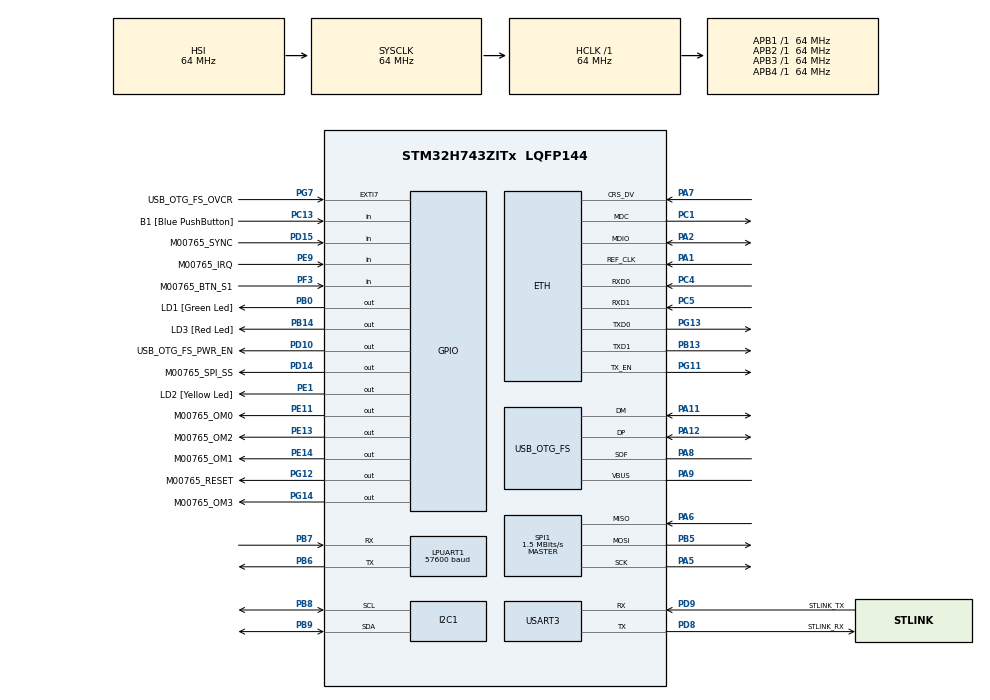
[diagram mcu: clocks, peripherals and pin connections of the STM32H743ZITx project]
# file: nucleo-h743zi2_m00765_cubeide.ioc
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Bdma.LPUART1_RX.0.Direction=DMA_PERIPH_TO_MEMORY
Bdma.LPUART1_RX.0.EventEnable=DISABLE
Bdma.LPUART1_RX.0.Instance=BDMA_Channel0
Bdma.LPUART1_RX.0.MemDataAlignment=DMA_MDATAALIGN_BYTE
Bdma.LPUART1_RX.0.MemInc=DMA_MINC_ENABLE
Bdma.LPUART1_RX.0.Mode=DMA_NORMAL
Bdma.LPUART1_RX.0.PeriphDataAlignment=DMA_PDATAALIGN_BYTE
Bdma.LPUART1_RX.0.PeriphInc=DMA_PINC_DISABLE
Bdma.LPUART1_RX.0.Polarity=HAL_DMAMUX_REQ_GEN_RISING
Bdma.LPUART1_RX.0.Priority=DMA_PRIORITY_LOW
Bdma.LPUART1_RX.0.RequestNumber=1
Bdma.LPUART1_RX.0.SignalID=NONE
Bdma.LPUART1_RX.0.SyncEnable=DISABLE
Bdma.LPUART1_RX.0.SyncPolarity=HAL_DMAMUX_SYNC_NO_EVENT
Bdma.LPUART1_RX.0.SyncRequestNumber=1
Bdma.LPUART1_RX.0.SyncSignalID=NONE
Bdma.LPUART1_TX.1.Direction=DMA_MEMORY_TO_PERIPH
Bdma.LPUART1_TX.1.EventEnable=DISABLE
Bdma.LPUART1_TX.1.Instance=BDMA_Channel1
Bdma.LPUART1_TX.1.MemDataAlignment=DMA_MDATAALIGN_BYTE
Bdma.LPUART1_TX.1.MemInc=DMA_MINC_ENABLE
Bdma.LPUART1_TX.1.Mode=DMA_NORMAL
Bdma.LPUART1_TX.1.PeriphDataAlignment=DMA_PDATAALIGN_BYTE
Bdma.LPUART1_TX.1.PeriphInc=DMA_PINC_DISABLE
Bdma.LPUART1_TX.1.Polarity=HAL_DMAMUX_REQ_GEN_RISING
Bdma.LPUART1_TX.1.Priority=DMA_PRIORITY_LOW
Bdma.LPUART1_TX.1.RequestNumber=1
Bdma.LPUART1_TX.1.SignalID=NONE
Bdma.LPUART1_TX.1.SyncEnable=DISABLE
Bdma.LPUART1_TX.1.SyncPolarity=HAL_DMAMUX_SYNC_NO_EVENT
Bdma.LPUART1_TX.1.SyncRequestNumber=1
Bdma.LPUART1_TX.1.SyncSignalID=NONE
Bdma.Request0=LPUART1_RX
Bdma.Request1=LPUART1_TX
Bdma.RequestsNb=2
Dma.Request0=SPI1_RX
Dma.Request1=SPI1_TX
Dma.SPI1_RX.0.Direction=DMA_PERIPH_TO_MEMORY
Dma.SPI1_RX.0.EventEnable=DISABLE
Dma.SPI1_RX.0.FIFOMode=DMA_FIFOMODE_DISABLE
Dma.SPI1_RX.0.Instance=DMA1_Stream0
Dma.SPI1_RX.0.MemDataAlignment=DMA_MDATAALIGN_BYTE
Dma.SPI1_RX.0.MemInc=DMA_MINC_ENABLE
Dma.SPI1_RX.0.Mode=DMA_NORMAL
Dma.SPI1_RX.0.PeriphDataAlignment=DMA_PDATAALIGN_BYTE
Dma.SPI1_RX.0.PeriphInc=DMA_PINC_DISABLE
Dma.SPI1_RX.0.Polarity=HAL_DMAMUX_REQ_GEN_RISING
Dma.SPI1_RX.0.Priority=DMA_PRIORITY_LOW
Dma.SPI1_RX.0.RequestNumber=1
Dma.SPI1_RX.0.SignalID=NONE
Dma.SPI1_RX.0.SyncEnable=DISABLE
Dma.SPI1_RX.0.SyncPolarity=HAL_DMAMUX_SYNC_NO_EVENT
Dma.SPI1_RX.0.SyncRequestNumber=1
Dma.SPI1_RX.0.SyncSignalID=NONE
Dma.SPI1_TX.1.Direction=DMA_MEMORY_TO_PERIPH
Dma.SPI1_TX.1.EventEnable=DISABLE
Dma.SPI1_TX.1.FIFOMode=DMA_FIFOMODE_DISABLE
Dma.SPI1_TX.1.Instance=DMA1_Stream1
Dma.SPI1_TX.1.MemDataAlignment=DMA_MDATAALIGN_BYTE
Dma.SPI1_TX.1.MemInc=DMA_MINC_ENABLE
Dma.SPI1_TX.1.Mode=DMA_NORMAL
Dma.SPI1_TX.1.PeriphDataAlignment=DMA_PDATAALIGN_BYTE
Dma.SPI1_TX.1.PeriphInc=DMA_PINC_DISABLE
Dma.SPI1_TX.1.Polarity=HAL_DMAMUX_REQ_GEN_RISING
Dma.SPI1_TX.1.Priority=DMA_PRIORITY_LOW
Dma.SPI1_TX.1.RequestNumber=1
Dma.SPI1_TX.1.SignalID=NONE
Dma.SPI1_TX.1.SyncEnable=DISABLE
Dma.SPI1_TX.1.SyncPolarity=HAL_DMAMUX_SYNC_NO_EVENT
Dma.SPI1_TX.1.SyncRequestNumber=1
Dma.SPI1_TX.1.SyncSignalID=NONE
ETH.MediaInterface=HAL_ETH_RMII_MODE
LPUART1.BaudRate=57600
Mcu.Family=STM32H7
Mcu.Name=STM32H743ZITx
Mcu.Package=LQFP144
NVIC.BDMA_Channel0_IRQn=true\:0\:0\:false\:false\:true\:false\:true
NVIC.BDMA_Channel1_IRQn=true\:0\:0\:false\:false\:true\:false\:true
NVIC.DMA1_Stream0_IRQn=true\:0\:0\:false\:false\:true\:false\:true
NVIC.DMA1_Stream1_IRQn=true\:0\:0\:false\:false\:true\:false\:true
NVIC.PriorityGroup=NVIC_PRIORITYGROUP_4
NVIC.SPI1_IRQn=true\:0\:0\:false\:false\:true\:true\:true
PA1.Mode=RMII
PA1.Signal=ETH_REF_CLK
PA11.Mode=Device_Only
PA11.Signal=USB_OTG_FS_DM
PA12.Mode=Device_Only
PA12.Signal=USB_OTG_FS_DP
PA2.Mode=RMII
PA2.Signal=ETH_MDIO
PA5.GPIO_PuPd=GPIO_PULLDOWN
PA5.Mode=Full_Duplex_Master
PA5.Signal=SPI1_SCK
PA6.GPIO_PuPd=GPIO_PULLDOWN
PA6.Mode=Full_Duplex_Master
PA6.Signal=SPI1_MISO
PA7.Mode=RMII
PA7.Signal=ETH_CRS_DV
PA8.Mode=Activate_SOF_FS
PA8.Signal=USB_OTG_FS_SOF
PA9.Mode=Activate_VBUS
PA9.Signal=USB_OTG_FS_VBUS
PB0.GPIO_Label=LD1 [Green Led]
PB0.Signal=GPIO_Output
PB13.Mode=RMII
PB13.Signal=ETH_TXD1
PB14.GPIO_Label=LD3 [Red Led]
PB14.Signal=GPIO_Output
PB5.GPIO_PuPd=GPIO_PULLDOWN
PB5.Mode=Full_Duplex_Master
PB5.Signal=SPI1_MOSI
PB6.Mode=Asynchronous
PB6.Signal=LPUART1_TX
PB7.GPIO_PuPd=GPIO_PULLUP
PB7.Mode=Asynchronous
PB7.Signal=LPUART1_RX
PB8.GPIO_Pu=GPIO_PULLUP
PB8.Mode=I2C
PB8.Signal=I2C1_SCL
PB9.GPIO_Pu=GPIO_PULLUP
PB9.Mode=I2C
PB9.Signal=I2C1_SDA
PC1.Mode=RMII
PC1.Signal=ETH_MDC
PC13.GPIO_Label=B1 [Blue PushButton]
PC13.Signal=GPIO_Input
PC14-OSC32_IN\ (OSC32_IN).Mode=LSE-External-Oscillator
PC14-OSC32_IN\ (OSC32_IN).Signal=RCC_OSC32_IN
PC15-OSC32_OUT\ (OSC32_OUT).Mode=LSE-External-Oscillator
PC15-OSC32_OUT\ (OSC32_OUT).Signal=RCC_OSC32_OUT
PC4.Mode=RMII
PC4.Signal=ETH_RXD0
PC5.Mode=RMII
PC5.Signal=ETH_RXD1
PD10.GPIO_Label=USB_OTG_FS_PWR_EN
PD10.Signal=GPIO_Output
PD14.GPIO_Label=M00765_SPI_SS
PD14.GPIO_PuPd=GPIO_PULLUP
PD14.PinState=GPIO_PIN_SET
PD14.Signal=GPIO_Output
PD15.GPIO_Label=M00765_SYNC
PD15.GPIO_PuPd=GPIO_PULLDOWN
PD15.Signal=GPIO_Input
PD8.GPIO_Label=STLINK_RX
PD8.Mode=Asynchronous
PD8.Signal=USART3_TX
PD9.GPIO_Label=STLINK_TX
PD9.Mode=Asynchronous
PD9.Signal=USART3_RX
PE1.GPIO_Label=LD2 [Yellow Led]
PE1.Signal=GPIO_Output
PE11.GPIO_Label=M00765_OM0
PE11.GPIO_PuPd=GPIO_NOPULL
PE11.Signal=GPIO_Output
PE13.GPIO_Label=M00765_OM2
PE13.GPIO_PuPd=GPIO_NOPULL
PE13.Signal=GPIO_Output
PE14.GPIO_Label=M00765_OM1
PE14.GPIO_PuPd=GPIO_NOPULL
PE14.Signal=GPIO_Output
PE9.GPIO_Label=M00765_IRQ
PE9.GPIO_PuPd=GPIO_PULLUP
PE9.Signal=GPIO_Input
PF3.GPIO_Label=M00765_BTN_S1
PF3.GPIO_PuPd=GPIO_PULLUP
PF3.Signal=GPIO_Input
PG11.Mode=RMII
PG11.Signal=ETH_TX_EN
PG12.GPIO_Label=M00765_RESET
PG12.GPIO_PuPd=GPIO_NOPULL
PG12.Signal=GPIO_Output
PG13.Mode=RMII
PG13.Signal=ETH_TXD0
PG14.GPIO_Label=M00765_OM3
PG14.GPIO_ModeDefaultOutputPP=GPIO_MODE_OUTPUT_OD
PG14.GPIO_PuPd=GPIO_PULLUP
PG14.Signal=GPIO_Output
PG7.GPIO_Label=USB_OTG_FS_OVCR
PG7.Signal=GPXTI7
PH0-OSC_IN\ (PH0).Mode=HSE-External-Clock-Source
PH0-OSC_IN\ (PH0).Signal=RCC_OSC_IN
PH1-OSC_OUT\ (PH1).Signal=RCC_OSC_OUT
ProjectManager.HeapSize=0x200
ProjectManager.StackSize=0x400
ProjectManager.TargetToolchain=STM32CubeIDE
RCC.ADCFreq_Value=16125000
RCC.APB1Freq_Value=64000000
RCC.APB2Freq_Value=64000000
RCC.APB3Freq_Value=64000000
RCC.APB4Freq_Value=64000000
RCC.CortexFreq_Value=64000000
RCC.DIVM1=1
RCC.DIVN1=24
RCC.DIVQ1=4
RCC.HCLKFreq_Value=64000000
RCC.HSE_VALUE=8000000
RCC.PLLFRACN=0
RCC.PWR_Regulator_Voltage_Scale=PWR_REGULATOR_VOLTAGE_SCALE2
RCC.SYSCLKFreq_VALUE=64000000
RCC.USBFreq_Value=48000000
SPI1.BaudRatePrescaler=SPI_BAUDRATEPRESCALER_32
SPI1.CalculateBaudRate=1.5 MBits/s
SPI1.DataSize=SPI_DATASIZE_8BIT
SPI1.Direction=SPI_DIRECTION_2LINES
SPI1.Mode=SPI_MODE_MASTER
SPI1.NSSPMode=SPI_NSS_PULSE_DISABLE
SPI1.VirtualType=VM_MASTER
USART3.VirtualMode-Asynchronous=VM_ASYNC
USB_OTG_FS.VirtualMode=Device_Only
board=NUCLEO-H743ZI2

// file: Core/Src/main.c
/*******************************************************************************
********************************************************************************
**                                                                            **
** ABCC Starter Kit version 3.08.01 (2021-12-15)                              **
**                                                                            **
** Delivered with:                                                            **
**    ABP            7.79.01 (2021-11-10)                                     **
**    ABCC Driver    5.08.01 (2021-12-09)                                     **
**                                                                            */
/* USER CODE BEGIN Header */
/**
  ******************************************************************************
  * @file           : main.c
  * @brief          : Main program body
  ******************************************************************************
  * @attention
  *
  * <h2><center>&copy; Copyright (c) 2021 STMicroelectronics.
  * All rights reserved.</center></h2>
  *
  * This software component is licensed by ST under BSD 3-Clause license,
  * the "License"; You may not use this file except in compliance with the
  * License. You may obtain a copy of the License at:
  *                        opensource.org/licenses/BSD-3-Clause
  *
  ******************************************************************************
  */
/* USER CODE END Header */
#include "main.h"
#include "bdma.h"
#include "dma.h"
#include "eth.h"
#include "i2c.h"
#include "usart.h"
#include "spi.h"
#include "usb_otg.h"
#include "gpio.h"

/* USER CODE BEGIN Includes */

#include <stdio.h>
#include <stdint.h>
#include <stdbool.h>
#include <inttypes.h>

#include "abcc.h"
#include "abcc_sys_adapt_aux.h"
#include "abcc_versions.h"
#include "appl_abcc_handler.h"

/* USER CODE END Includes */

void SystemClock_Config(void);

int main(void)
{
  /* USER CODE BEGIN 1 */

   /*-------------------------------------------------------------------------
   **
   ** Port of the ABCC example code for the Nucleo-H743ZI2 board and the
   ** M00765 ABCC adapter board.
   **
   ** All HW/interface reservations and initializations has been made via the
   ** 'CubeMX' project, this includes the define:s for the I/O pins and the
   ** initial settings for the I2C, SPI, and UART communication interfaces.
   ** All additions or changes made in the CubeMX-generated files should be
   ** inside the "USER X BEGIN/END" markers so updates to that project file
   ** should be possible to apply without interfering with the ABCC-related
   ** parts.
   **
   ** The __io_putchar() and __io_getchar functions has been added to usart.c
   ** to allow for console I/O, but is not complete. FIFO/interrupt support
   ** remains to do.
   **
   ** Basic operation with SPI or UART shall work. Both implementations runs
   ** with polling operation. Interrupt-driven operation for SPI, and porting
   ** of the critical section macros, remains "to do", as does SYNC support.
   **
   **-------------------------------------------------------------------------
   */

   UINT8    bConsoleInput;

   /*
   ** Timekeeping variables for the ABCC driver. The ABCC_RunTimerSystem()
   ** requires a reasonably accurate reference, in this implementation the
   ** 1ms HAL_GetTick() is used as a time base.
   */
   UINT32   lTickThen;
   UINT32   lTickNow;
   UINT32   lTickDiff;

   /*
   ** The RESTART button on the M00765 PCB should be flank sensitive so we
   ** need variables to keep track of its state.
   */
   BOOL  fAbccRestartButtonThen;
   BOOL  fAbccRestartButtonNow;

   APPL_AbccHandlerStatusType	eAbccHandlerStatus = APPL_MODULE_NO_ERROR;

  /* USER CODE END 1 */

  /* MCU Configuration--------------------------------------------------------*/

  /* Reset of all peripherals, Initializes the Flash interface and the Systick. */
  HAL_Init();

  /* Configure the system clock */
  SystemClock_Config();

  /* Initialize all configured peripherals */
  MX_GPIO_Init();
  MX_DMA_Init();
  MX_ETH_Init();
  MX_SPI1_Init();
  MX_USART3_UART_Init();
  MX_BDMA_Init();
  MX_LPUART1_UART_Init();
  MX_USB_OTG_FS_PCD_Init();
  MX_I2C1_Init();
  /* USER CODE BEGIN 2 */

   printf( "%c", 12 ); /* 12 = 'form feed' */
   printf( "HMS Industrial Networks\n" );
   printf( "Embedded ABCC Demo\n" );
   printf( "NUCLEO-H743ZI2 with M00765 option card\n" );
   printf( ABCC_STARTER_KIT_VER_STRING );
   printf( "\n\n" );

   /*
   ** Inform the adaptation functions in "abcc_sys_adapt.c" which I2C, SPI and
   ** UART interfaces to use for the M00765 PCB and the ABCC. It is assumed
   ** that those interfaces already has been claimed/reserved via the CubeMX
   ** configuration tool, and that its code generator has defined the
   ** corresponding structures here in the "main.c" so that the only
   ** remaining task is to pass on pointers to those existing structures.
   */
   if( !ABCC_SYS_Set_I2C_Handle( &hi2c1 ) )
   {
      Error_Handler();
   }
   if( !ABCC_SYS_Set_SPI_Handle( &hspi1 ) )
   {
      Error_Handler();
   }
   if( !ABCC_SYS_Set_UART_Handle( &hlpuart1 ) )
   {
      Error_Handler();
   }

   if( ABCC_HwInit() != ABCC_EC_NO_ERROR )
   {
      Error_Handler();
   }

   lTickThen = HAL_GetTick();
   fAbccRestartButtonThen = ABCC_SYS_GetRestartButton();

  /* USER CODE END 2 */

  /* Infinite loop */
  while (1)
  {

    /* USER CODE BEGIN 3 */

      /*
      ** Handle console input.
      */
      if( HAL_UART_Receive( &huart3, &bConsoleInput, 1, 0 ) == HAL_OK )
      {
      /* TODO - Restart the ABCC when someone presses 'R' ? */
      /* TODO - Dump some statistics data ? */
      }

      /*
      ** Run the ABCC driver and handle any state-dependent actions.
      */
      eAbccHandlerStatus = APPL_HandleAbcc();
      switch( eAbccHandlerStatus )
      {
      case APPL_MODULE_NO_ERROR:
         break;

      case APPL_MODULE_RESET:
         APPL_RestartAbcc();
         break;

      case APPL_MODULE_NOT_DETECTED:
         break;

      case APPL_MODULE_NOT_SUPPORTED:
         break;

      case APPL_MODULE_NOT_ANSWERING:
         break;

      case APPL_MODULE_SHUTDOWN:
         break;

      case APPL_MODULE_UNEXPECTED_ERROR:
         break;

      default:
         break;
      }

      /*
      ** Poll the system timer and inform ABCC_RunTimerSystem() about how much
      ** time that has elapsed.
      */
      lTickNow = HAL_GetTick();
      if( lTickNow != lTickThen )
      {
         lTickDiff = lTickNow - lTickThen;
         lTickThen = lTickNow;

         /*
         ** Make sure that *all* elapsed time is accounted for...
         */
         while( lTickDiff > 0 )
         {
            if( lTickDiff > ABP_SINT16_MAX )
            {
               ABCC_RunTimerSystem( ABP_SINT16_MAX );
               lTickDiff -= ABP_SINT16_MAX;
            }
            else
            {
               ABCC_RunTimerSystem( (INT16)lTickDiff );
               lTickDiff = 0;
            }
         }
      }

      /*
      ** Restart the ABCC when the S1/RESTART is pushed down. Debouncing is not
      ** needed since the button is wired via a voltage WD chip (U4).
      */
      fAbccRestartButtonNow = ABCC_SYS_GetRestartButton();
      if( fAbccRestartButtonNow != fAbccRestartButtonThen )
      {
         fAbccRestartButtonThen = fAbccRestartButtonNow;
         if( fAbccRestartButtonNow )
         {
            APPL_Reset();
         }
         else
         {
            APPL_RestartAbcc();
         }
      }

  }
  /* USER CODE END 3 */
}

void SystemClock_Config(void)
{
  RCC_OscInitTypeDef RCC_OscInitStruct = {0};
  RCC_ClkInitTypeDef RCC_ClkInitStruct = {0};

  /** Supply configuration update enable
  */
  HAL_PWREx_ConfigSupply(PWR_LDO_SUPPLY);
  /** Configure the main internal regulator output voltage
  */
  __HAL_PWR_VOLTAGESCALING_CONFIG(PWR_REGULATOR_VOLTAGE_SCALE2);

  while(!__HAL_PWR_GET_FLAG(PWR_FLAG_VOSRDY)) {}
  /** Initializes the RCC Oscillators according to the specified parameters
  * in the RCC_OscInitTypeDef structure.
  */
  RCC_OscInitStruct.OscillatorType = RCC_OSCILLATORTYPE_HSI|RCC_OSCILLATORTYPE_HSE;
  RCC_OscInitStruct.HSEState = RCC_HSE_BYPASS;
  RCC_OscInitStruct.HSIState = RCC_HSI_DIV1;
  RCC_OscInitStruct.HSICalibrationValue = RCC_HSICALIBRATION_DEFAULT;
  RCC_OscInitStruct.PLL.PLLState = RCC_PLL_ON;
  RCC_OscInitStruct.PLL.PLLSource = RCC_PLLSOURCE_HSE;
  RCC_OscInitStruct.PLL.PLLM = 1;
  RCC_OscInitStruct.PLL.PLLN = 24;
  RCC_OscInitStruct.PLL.PLLP = 2;
  RCC_OscInitStruct.PLL.PLLQ = 4;
  RCC_OscInitStruct.PLL.PLLR = 2;
  RCC_OscInitStruct.PLL.PLLRGE = RCC_PLL1VCIRANGE_3;
  RCC_OscInitStruct.PLL.PLLVCOSEL = RCC_PLL1VCOWIDE;
  RCC_OscInitStruct.PLL.PLLFRACN = 0;
  if (HAL_RCC_OscConfig(&RCC_OscInitStruct) != HAL_OK)
  {
    Error_Handler();
  }
  /** Initializes the CPU, AHB and APB buses clocks
  */
  RCC_ClkInitStruct.ClockType = RCC_CLOCKTYPE_HCLK|RCC_CLOCKTYPE_SYSCLK
                              |RCC_CLOCKTYPE_PCLK1|RCC_CLOCKTYPE_PCLK2
                              |RCC_CLOCKTYPE_D3PCLK1|RCC_CLOCKTYPE_D1PCLK1;
  RCC_ClkInitStruct.SYSCLKSource = RCC_SYSCLKSOURCE_HSI;
  RCC_ClkInitStruct.SYSCLKDivider = RCC_SYSCLK_DIV1;
  RCC_ClkInitStruct.AHBCLKDivider = RCC_HCLK_DIV1;
  RCC_ClkInitStruct.APB3CLKDivider = RCC_APB3_DIV1;
  RCC_ClkInitStruct.APB1CLKDivider = RCC_APB1_DIV1;
  RCC_ClkInitStruct.APB2CLKDivider = RCC_APB2_DIV1;
  RCC_ClkInitStruct.APB4CLKDivider = RCC_APB4_DIV1;

  if (HAL_RCC_ClockConfig(&RCC_ClkInitStruct, FLASH_LATENCY_1) != HAL_OK)
  {
    Error_Handler();
  }
}

void Error_Handler(void)
{
  __disable_irq();
  while (1)
  {
  }
}

/************************ (C) COPYRIGHT STMicroelectronics *****END OF FILE****/
